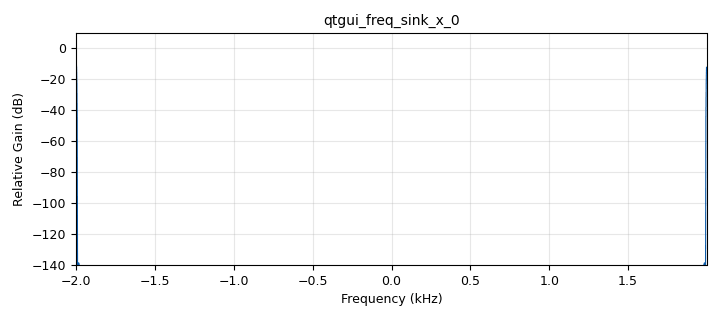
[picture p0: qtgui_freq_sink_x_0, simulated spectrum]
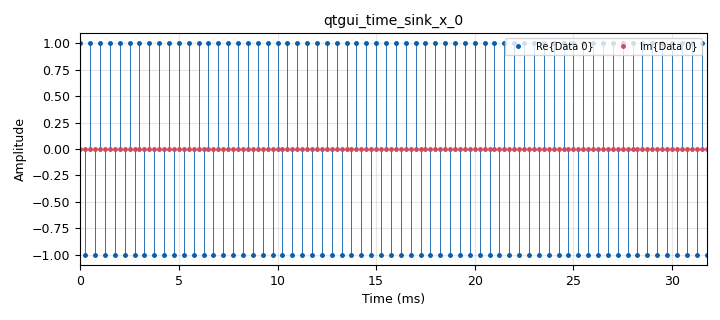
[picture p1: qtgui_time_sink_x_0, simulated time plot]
options:
  parameters:
    author: Christian_Coronado__Sebastian_Hernandez_G6_L1A
    generate_options: qt_gui
    id: LAB_1_2
    output_language: python
    title: lab1_parte_2
  states: {}

blocks:
- name: freq
  id: variable_qtgui_range
  parameters:
    label: frequency
    start: '1000'
    step: '1000'
    stop: '40000'
    value: '2000'
  states: {}
- name: samp_rate
  id: variable_qtgui_range
  parameters:
    label: frequency rate
    start: '1000'
    step: '1000'
    stop: '40000'
    value: '4000'
  states: {}
- name: analog_sig_source_x_0
  id: analog_sig_source_x
  parameters:
    amp: '1'
    freq: freq
    offset: '0'
    phase: '0'
    samp_rate: samp_rate
    type: complex
    waveform: analog.GR_SIN_WAVE
  states: {}
- name: blocks_throttle_0
  id: blocks_throttle
  parameters:
    samples_per_second: samp_rate
    type: complex
  states: {}
- name: qtgui_freq_sink_x_0
  id: qtgui_freq_sink_x
  parameters:
    bw: samp_rate
    fc: '0'
    fftsize: '2048'
    type: complex
  states: {}
- name: qtgui_time_sink_x_0
  id: qtgui_time_sink_x
  parameters:
    autoscale: 'True'
    size: '128'
    srate: samp_rate
    stemplot: 'True'
    type: complex
  states: {}

connections:
- [analog_sig_source_x_0, '0', blocks_throttle_0, '0']
- [blocks_throttle_0, '0', qtgui_freq_sink_x_0, '0']
- [blocks_throttle_0, '0', qtgui_time_sink_x_0, '0']

metadata:
  file_format: 1
